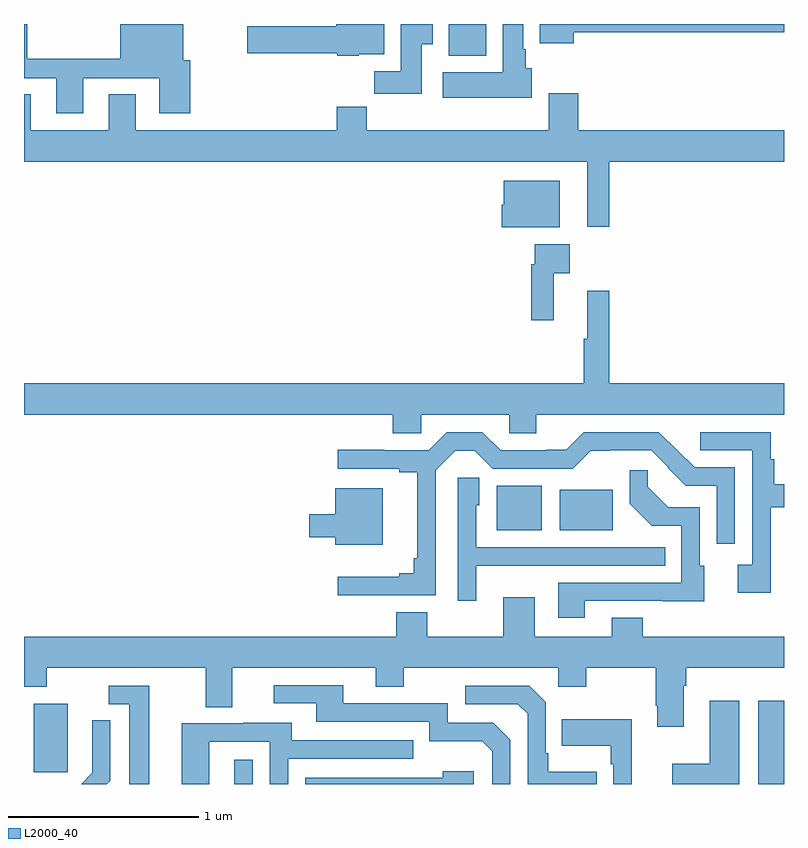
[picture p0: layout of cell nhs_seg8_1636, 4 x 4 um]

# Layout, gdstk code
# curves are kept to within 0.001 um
import gdstk
lib = gdstk.Library(unit=1e-6, precision=1e-09)
def R(c, l, rs):  # rectangles x0, y0, x1, y1
    for r in rs: c.add(gdstk.rectangle(r[:2], r[2:], *l))
def P(c, l, *ps):  # polygons
    for p in ps: c.add(gdstk.Polygon(p, *l))
L2000_40 = (2000, 40)

nhs_seg8_1636 = lib.new_cell('nhs_seg8_1636')
R(nhs_seg8_1636, L2000_40, [(216.107,1103.9,216.204,1104.028), (218.864,1103.9,219,1104.337), (215.051,1103.961,215.23,1104.322), (217.487,1105.235,217.726,1105.471), (217.82,1105.235,218.098,1105.45), (217.235,1107.734,217.432,1107.9)])
P(nhs_seg8_1636, L2000_40, [(216.762,1107.74),(216.895,1107.74),(216.895,1107.9),(216.644,1107.9),(216.644,1107.887),(216.174,1107.887),(216.174,1107.745),(216.648,1107.745),(216.648,1107.734),(216.762,1107.734)],
  [(217.894,1107.856),(219,1107.856),(219,1107.9),(217.715,1107.9),(217.715,1107.8),(217.894,1107.8)],
  [(215,1107.9),(215,1107.615),(215.171,1107.615),(215.171,1107.429),(215.311,1107.429),(215.311,1107.615),(215.711,1107.615),(215.711,1107.429),(215.876,1107.429),(215.876,1107.708),(215.839,1107.708),(215.839,1107.9),(215.507,1107.9),(215.507,1107.716),(215.016,1107.716),(215.016,1107.9)],
  [(217.672,1107.666),(217.642,1107.666),(217.642,1107.766),(217.627,1107.766),(217.627,1107.9),(217.52,1107.9),(217.52,1107.646),(217.203,1107.646),(217.203,1107.512),(217.672,1107.512)],
  [(217.093,1107.793),(217.15,1107.793),(217.15,1107.9),(216.983,1107.9),(216.983,1107.652),(216.844,1107.652),(216.844,1107.534),(217.093,1107.534)],
  [(218.081,1107.176),(219,1107.176),(219,1107.34),(217.916,1107.34),(217.916,1107.535),(217.763,1107.535),(217.763,1107.34),(216.803,1107.34),(216.803,1107.464),(216.647,1107.464),(216.647,1107.34),(215.587,1107.34),(215.587,1107.53),(215.447,1107.53),(215.447,1107.34),(215.035,1107.34),(215.035,1107.53),(215,1107.53),(215,1107.176),(217.964,1107.176),(217.964,1106.832),(218.081,1106.832)],
  [(217.819,1107.076),(217.526,1107.076),(217.526,1106.949),(217.514,1106.949),(217.514,1106.831),(217.819,1106.831)],
  [(217.787,1106.588),(217.873,1106.588),(217.873,1106.74),(217.689,1106.74),(217.689,1106.636),(217.669,1106.636),(217.669,1106.34),(217.787,1106.34)],
  [(217.092,1105.844),(217.554,1105.844),(217.554,1105.746),(217.696,1105.746),(217.696,1105.844),(219,1105.844),(219,1106.008),(218.081,1106.008),(218.081,1106.497),(217.964,1106.497),(217.964,1106.244),(217.945,1106.244),(217.945,1106.008),(215,1106.008),(215,1105.844),(216.941,1105.844),(216.941,1105.746),(217.092,1105.746)],
  [(218.929,1105.357),(219,1105.357),(219,1105.478),(218.948,1105.478),(218.948,1105.61),(218.93,1105.61),(218.93,1105.752),(218.559,1105.752),(218.559,1105.656),(218.832,1105.656),(218.832,1105.054),(218.757,1105.054),(218.757,1104.906),(218.929,1104.906)],
  [(216.863,1104.894),(217.167,1104.894),(217.167,1105.551),(217.271,1105.655),(217.372,1105.655),(217.467,1105.56),(217.887,1105.56),(217.982,1105.655),(218.301,1105.656),(218.391,1105.566),(218.389,1105.564),(218.483,1105.47),(218.646,1105.47),(218.646,1105.164),(218.742,1105.164),(218.742,1105.566),(218.529,1105.566),(218.341,1105.752),(217.947,1105.752),(217.853,1105.658),(217.748,1105.658),(217.748,1105.656),(217.509,1105.656),(217.413,1105.752),(217.226,1105.752),(217.13,1105.656),(216.897,1105.656),(216.897,1105.658),(216.651,1105.658),(216.651,1105.56),(216.974,1105.56),(216.974,1105.54),(217.07,1105.54),(217.07,1105.087),(217.051,1105.087),(217.051,1105.01),(216.974,1105.01),(216.974,1104.991),(216.651,1104.991),(216.651,1104.893)],
  [(217.951,1104.864),(218.581,1104.863),(218.581,1105.05),(218.556,1105.05),(218.556,1105.356),(218.39,1105.356),(218.282,1105.464),(218.282,1105.552),(218.187,1105.552),(218.187,1105.376),(218.303,1105.26),(218.46,1105.26),(218.46,1104.96),(217.811,1104.96),(217.811,1104.774),(217.951,1104.774)],
  [(217.381,1105.049),(217.715,1105.049),(217.715,1105.05),(218.375,1105.05),(218.375,1105.146),(217.38,1105.146),(217.38,1105.368),(217.396,1105.368),(217.396,1105.511),(217.284,1105.511),(217.284,1104.864),(217.381,1104.864)],
  [(216.889,1105.456),(216.638,1105.456),(216.638,1105.321),(216.501,1105.321),(216.501,1105.199),(216.638,1105.199),(216.638,1105.16),(216.889,1105.16)],
  [(218.473,1104.416),(218.486,1104.416),(218.486,1104.512),(219,1104.512),(219,1104.676),(218.257,1104.676),(218.257,1104.775),(218.093,1104.775),(218.093,1104.676),(217.687,1104.676),(217.687,1104.883),(217.523,1104.883),(217.523,1104.676),(217.123,1104.676),(217.123,1104.805),(216.959,1104.805),(216.959,1104.676),(215,1104.676),(215,1104.413),(215.121,1104.413),(215.121,1104.512),(215.957,1104.512),(215.957,1104.304),(216.097,1104.304),(216.097,1104.512),(216.851,1104.512),(216.851,1104.413),(216.999,1104.413),(216.999,1104.512),(217.812,1104.512),(217.812,1104.413),(217.959,1104.413),(217.959,1104.512),(218.326,1104.512),(218.326,1104.313),(218.333,1104.313),(218.333,1104.201),(218.473,1104.201)],
  [(217.56,1104.132),(217.47,1104.222),(217.23,1104.222),(217.23,1104.324),(216.679,1104.324),(216.679,1104.42),(216.315,1104.42),(216.315,1104.324),(216.539,1104.324),(216.539,1104.228),(217.134,1104.228),(217.134,1104.125),(217.411,1104.125),(217.464,1104.072),(217.464,1103.9),(217.56,1103.9)],
  [(218.015,1103.965),(217.759,1103.965),(217.759,1104.061),(217.746,1104.061),(217.746,1104.33),(217.659,1104.417),(217.323,1104.417),(217.323,1104.321),(217.599,1104.321),(217.65,1104.27),(217.65,1103.9),(218.015,1103.9)],
  [(215.659,1104.417),(215.445,1104.417),(215.445,1104.321),(215.555,1104.321),(215.555,1103.9),(215.659,1103.9)],
  [(218.764,1104.337),(218.609,1104.337),(218.609,1104.007),(218.412,1104.007),(218.412,1103.9),(218.764,1103.9)],
  [(218.198,1104.241),(217.831,1104.241),(217.831,1104.101),(218.088,1104.101),(218.088,1104.005),(218.1,1104.005),(218.1,1103.9),(218.198,1103.9)],
  [(215.454,1103.918),(215.454,1104.236),(215.358,1104.236),(215.358,1104.082),(215.36,1104.082),(215.36,1103.96),(215.3,1103.9),(215.436,1103.9)],
  [(215.976,1104.123),(216.294,1104.123),(216.294,1103.9),(216.39,1103.9),(216.39,1104.033),(217.049,1104.033),(217.049,1104.129),(216.409,1104.129),(216.409,1104.223),(216.155,1104.223),(216.155,1104.219),(215.831,1104.219),(215.831,1103.9),(215.976,1103.9)],
  [(217.366,1103.968),(217.205,1103.968),(217.205,1103.934),(216.48,1103.934),(216.48,1103.9),(217.366,1103.9)])

lib.write_gds('nhs_seg8_1636.gds')
